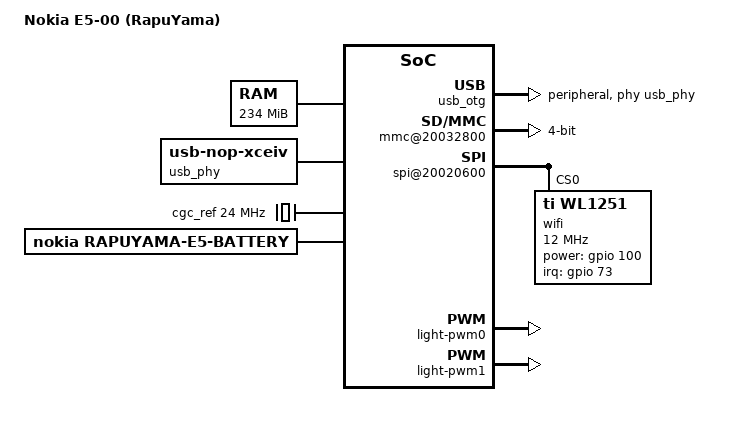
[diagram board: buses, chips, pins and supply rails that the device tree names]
/dts-v1/;

/* device tree for the nokia e5-00 (RM-632, fw 101.003), loader e5bot3.
 * tested on the phone: boots to the usb shell + ram log, the E5 system
 * tick (timer-rapuyama-e5.c, see the timer node: a different block from
 * the E6), soc/pmic watchdogs, the PA_SWD bridge (e6.swd), e6.lowmem, the
 * display as fbdev + fbcon, the keyboard and the microSD slot (read-only
 * mount, sha1 of a 16 MB file ok, 5 MB/s pio) with the alpine rootfs on
 * its p2 (tools/sdroot.sh /dev/sdX e5). everything below was checked
 * against the E5 ROM dump and the live phone (docs/devices/e5-00/
 * hw-map.md); the E6 values that were NOT confirmed on the E5 are left out
 * instead of copied:
 *   - clock gate controller (cgc): the E5 power_resources gate table
 *     0x06..0x2c equals the E6 one in clk-rapuyama.c (plan 7.17); only the
 *     mmc uses it (+ the two critical resources the driver turns on)
 *   - mmc@20032800 = the card slot
 *   - no i2c0 / touch / charger / modem link: E6 chips
 *   - battery: read-only gazoo adc (vbat, ntc, charger present), E5 cal
 *   - no bt uart
 *   - display: rfbi node only (rapuyama-e5-fb.c, cpu push); dispc and
 *     vrfb are not touched. brightness = panel DCS 0x53/0x51 from the
 *     same driver (/sys/class/backlight/panel)
 *   - keyboard: 8x8 gpio matrix, keypad node, polled
 *     (rapuyama-e5-keypad.c, maps the gpio block itself)
 *   - gpio node (gpio-rapuyama.c, egpio layout == E6, K0/W1): only the
 *     wlan uses it (power gpio 100, irq gpio 73)
 *   - wlan: TI WL1251 on spi2 (spi-rapuyama.c, polled): chip id ok,
 *     firmware boots, wlan0 up (no scan/association tested yet)
 * standalone on purpose (does not include e6.dts) so the E6 trees stay
 * untouched. boot with the usb cable plugged in so symbian leaves the usb
 * block powered
 */

/ {
	compatible = "nokia,e5", "nokia,rapuyama";
	model = "Nokia E5-00 (RapuYama)";
	#address-cells = <1>;
	#size-cells = <1>;
	interrupt-parent = <&intc>;

	chosen {
		/* clk_ignore_unused/pd_ignore_unused: nothing here owns the gates,
		 * symbian's state must stay.
		 * e6.lowmem: ram 0x11600000..loader block back, symbian-mapped pages
		 * stay reserved (+~27 MB, runs L1/L2 2026-11-01: lowwatch 20 passes
		 * 0 pages changed). first suspect for random crashes / corruption:
		 * boot a dtb without it.
		 * e6.swd: PA_SWD 0x1f bridge, E5 entry in secure_wdt.c (needs the
		 * v2 isah block of e5bot3)
		 * e6.root: btrfs rootfs on the card's p2 (tools/sdroot.sh ... e5);
		 * no p2 = init.sh stays in the initramfs after a 10 s wait */
		bootargs = "earlycon=ramcon,0x1f000000 keep_bootcon console=tty0 console=ttyNULL fbcon=font:VGA8x8 panic=10 nohlt clk_ignore_unused pd_ignore_unused cma=0 e6.usbsh e6.nogui e6.swd=1 e6.lowmem=1 e6.root=/dev/mmcblk0p2 g_cdc.host_addr=02:e5:00:00:00:01 g_cdc.dev_addr=02:e5:00:00:00:02";
	};

	cpus {
		#address-cells = <1>;
		#size-cells = <0>;
		cpu@0 {
			device_type = "cpu";
			/* MIDR 0x410fb764 read live: ARM1176 r0p4, same as the E6 */
			compatible = "arm,arm1176jzf-s";
			reg = <0>;
		};
	};

	/* one 256 MB bank at 0x10000000 (bootstrap list {0x10000001, 0x10000000},
	 * superpage iTotalRamSize 0x0f820000 + iTotalRomSize 0x7e0000 = 256 MB).
	 * Linux starts at 0x11600000 like the E6 loader layout (2 MB aligned):
	 * below that live, measured on the E5 (e5rom): the kernel L1 at
	 * 0x10000000, the modem-side window symbian maps at 0x10480000 (3.7 MB,
	 * role on the E5 unverified, on the E6 it was modem firmware), the
	 * unpaged ROM copy 0x10900000..0x110da000 and paged ROM pages up to
	 * ~0x11600000. costs 22 MB */
	memory@11600000 {
		device_type = "memory";
		reg = <0x11600000 0x0ea00000>;
	};

	reserved-memory {
		#address-cells = <1>;
		#size-cells = <1>;
		ranges;

		/* ram log (earlycon=ramcon,0x1f000000): free in symbian's allocator
		 * at e5rom time (Claim ok over 0x1e000000..0x1fb5ffff) */
		ramcon@1f000000 {
			reg = <0x1f000000 0x100000>;
			no-map;
		};

		/* top of ram, symbian's own: 0x1fb60000..0x1fcdffff was in use at
		 * e5rom time (unidentified), 0x1fd00000 is the kernel superpage,
		 * 0x1fd50000 +2.5 MB and 0x1ffe0000 +64 KB are mapped by symbian
		 * next to the mmio (c6800000, c6b00000, shared with something that is
		 * not the arm on the E6). one reservation over all of it, 4.6 MB.
		 * NOT no-map for the same reason as in e6.dts (a no-map hole at the
		 * top of ram makes arm drop ram above it) */
		symbian-top@1fb60000 {
			reg = <0x1fb60000 0x004a0000>;
		};
	};

	/* ULPI phy, symbian leaves it set up (cable plugged in) */
	usb_phy: usb-phy {
		compatible = "usb-nop-xceiv";
		#phy-cells = <0>;
	};

	clocks {
		/* NKern::FastCounterFrequency() = 32768 on the E5 too (live HAL
		 * EFastCounterFrequency, ROM check 7.1) */
		fc_clk: fc-clk {
			compatible = "fixed-clock";
			#clock-cells = <0>;
			clock-frequency = <32768>;
		};
		/* nominal parent of the cgc gates (E6: i2c_fclk 24 MHz); no E5
		 * driver uses a gate's rate */
		cgc_ref: cgc-ref {
			compatible = "fixed-clock";
			#clock-cells = <0>;
			clock-frequency = <24000000>;
		};
		/* mmc functional clock: EPBUSMV rate getter 0x8013eb98 returns
		 * 96000 kHz (plan 7.17) */
		mmc_fclk: mmc-fclk {
			compatible = "fixed-clock";
			#clock-cells = <0>;
			clock-frequency = <96000000>;
		};
	};

	soc {
		compatible = "simple-bus";
		#address-cells = <1>;
		#size-cells = <1>;
		ranges;

		/* the 1 MB aperture symbian maps at c6e00000 -> 0x20500000 is the L220
		 * outer cache: the E5 ekern does the same maintenance as the E6 at
		 * c6e00770 / c6e007b0 / c6e007f0 (ROM 0x800a06d8..f0). the id register
		 * (0x41000486 on the E6) has NOT been read on the E5 */
		l2c: cache-controller@20500000 {
			compatible = "arm,l220-cache";
			reg = <0x20500000 0x1000>;
			cache-unified;
			cache-level = <2>;
		};

		/* mapped live (c6060000 -> 0x20400000 x4); the E5 karap dispatchers use
		 * the same offsets (hw-map). the 5 secondary banks sit in
		 * c6020000 -> 0x20020000 x48, so 0x20033400 is mapped too */
		intc: interrupt-controller@20400000 {
			compatible = "nokia,rapuyama-intc";
			reg = <0x20400000 0x4000>, <0x20033400 0x140>;
			interrupt-controller;
			#interrupt-cells = <1>;
		};

		/* E5 system tick: IRQ 35, ROM ISR 0x8009d778. live reads (e5timr/e5tick):
		 * 0x200401a4 is a DOWN counter at ~7.68 MHz (38.4 MHz / 5, measured
		 * 7.66 MHz +-5 %) that reloads from 0x1e00 = 7680, i.e. a hardware
		 * periodic 1 ms tick (every value ever read is <= 0x1e00). symbian arms it
		 * by writing 0x1e00 to 0x200401a4 (EnbMsTick, ROM 0x8009e2a4) and the ISR
		 * re-arms by polling 0x200401c4 until it reads 0, then writing 0x1e00 to
		 * it. init ROM 0x8009d7cc left 0x20033600 +4=1 +8=3 and 0x20040180 +4=1
		 * +8=4. NOT verified: the reload/ack semantics of 0x200401c4 (write
		 * visibly acks the irq?), that the 7.68 MHz rate is exact (the 38.4/5
		 * guess fits 7680 = 1 ms), irq 35 trigger type. there is no driver for
		 * this binding is drivers/clocksource/timer-rapuyama-e5.c (the E6
		 * timer-rapuyama.c, irq 242 / 0x200337a0, must NOT be pointed here).
		 * second reg = the fast counter (clocksource), same as the E6 */
		timer@20040180 {
			compatible = "nokia,rapuyama-e5-timer";
			reg = <0x20040180 0x80>, <0x20033350 0x8>;
			interrupts = <35>;
			clocks = <&fc_clk>;
			clock-names = "fc";
		};

		/* musb core, same base as the E6 (hw-map: usb.dll 0x20038800 core,
		 * 0x20038c00 wrapper; irq binds 183/215 at ROM 0x80126fd8/ff0).
		 * no clocks property: symbian already runs the block with the cable in */
		usb_otg: usb@20038800 {
			compatible = "nokia,rapuyama-musb";
			reg = <0x20038800 0x500>;
			interrupts = <183>, <215>;
			interrupt-names = "mc", "dma";
			phys = <&usb_phy>;
			dr_mode = "peripheral";
		};

		/* panel interface: OMAP2-style RFBI, MIPI DCS panel on an 8-bit bus,
		 * RGB888 (D0..D2, plan 7.13-7.15). symbian's rfbi/dispc setup is kept
		 * as is; the driver only writes CMD (+0x4c) / PARAM (+0x50) and polls
		 * SYSSTATUS (+0x14). no irq, no clocks (left running by symbian) */
		display@20025800 {
			compatible = "nokia,rapuyama-e5-rfbi";
			reg = <0x20025800 0x100>;
		};

		/* qwerty 8x8 matrix, polled (rapuyama-e5-keypad.c, ekeyb.dll scan):
		 * gpio block (only the 8 column pins' out set/clr are written) and the
		 * gpio irq block (raw row state, read only; same range as the intc's
		 * second reg, the driver maps it without requesting it). no
		 * learn mode: echo 1 > /sys/module/rapuyama_e5_keypad/parameters/learn */
		keypad@20031900 {
			compatible = "nokia,rapuyama-e5-keypad";
			reg = <0x20031900 0x200>, <0x20033400 0x140>;
			/* MATRIX_KEY(row,col,code) = row<<24 | col<<16 | code. positions from
			 * ekeyb.dll: 64-byte scan table (c8009a68, idx row*8+col) checked
			 * against its 5x20 physical-layout table (c8009aa8). codes are < 128
			 * (busybox loadkmap) and only name the keys: the layers (sym, fn-arrow,
			 * sticky ctrl/alt) are in the console keymap /etc/e5.kmap from
			 * tools/e5-kmap.py. bottom row L->R: fn-arrow r0c0 (RIGHTCTRL), shift
			 * r0c1, sym r0c2 (RIGHTALT), space r0c3+r0c6, @/ r0c7 (GRAVE), ?! r4c0
			 * (SLASH), ctrl r4c1 (dead on the test phone). nav: lsk r5c2 (ESC),
			 * rsk r5c4 (LEFTMETA), menu r4c6 (LEFTALT), mail r5c5 (CAPSLOCK), call
			 * r5c6 (TAB), d-pad u r5c3 d r4c5 l r4c2 r r4c4, centre r4c3 (ENTER).
			 * end/power is not in the matrix. r0c4/r0c5 (symbian 0xa2/0xa3)
			 * unmapped, key unknown */
			linux,keymap = <0x03000010 0x03010011 0x03020012 0x03030013 0x03040014 0x03050015 0x03060016 0x03070017 0x07000018 0x07010019 0x0200001e 0x0201001f 0x02020020 0x02030021 0x02040022 0x02050023 0x02060024 0x02070025 0x06000026 0x0601000e 0x0100002c 0x0101002d 0x0102002e 0x0103002f 0x01040030 0x01050031 0x01060032 0x01070033 0x05000034 0x0501001c 0x00000061 0x0001002a 0x00020064 0x00030039 0x00060039 0x00070029 0x04000035 0x0401001d 0x05020001 0x0504007d 0x04060038 0x0505003a 0x0506000f 0x05030067 0x0405006c 0x04020069 0x0404006a 0x0403001c>;
		};

		/* clock gates, clk-rapuyama.c. probe turns on the critical resources
		 * 0x11 (gates 0x07, 0x12) and 0x1f (gate 0x22): set-bit writes only,
		 * same regs/bits as the E5 firmware. nothing else is written until a
		 * driver enables its clock.
		 * second reg: gate 0x02 (res 0x0b EHwClkExtSysClk, the wl1251 ref
		 * clock), a plain 1/0 reg (power_resources 0x800ab8f4/0x800ab970) */
		cgc: clock-controller@20032f00 {
			compatible = "nokia,rapuyama-cgc";
			reg = <0x20032f00 0x300>, <0x20020804 0x4>;
			clocks = <&cgc_ref>;
			#clock-cells = <1>;
		};

		/* microSD, EPBUSMV.DLL (plan 7.17): one TI OMAP2420 style controller,
		 * irq 173 (table 0x801449c0), power resource 0x23 (E5 name
		 * EHwClkMemCard0) = gates 0x23 (cgc+0x1d0 bit 5) + 0x25 (cgc+0x280
		 * bit 7). symbian gates both off when the card is idle (M1: off after
		 * the handoff; setting them by hand made the controller readable,
		 * card RCA 0xe624 still selected). card power: left on by symbian
		 * (E: mounted before the handoff), no regulator found. the CD gpio
		 * symbian names is gpio 0 = keypad column 0 -> broken-cd (polled).
		 * no dmas: omap.c falls back to pio. 24 MHz = symbian's cap */
		mmc@20032800 {
			compatible = "nokia,rapuyama-mmc", "ti,omap2420-mmc";
			reg = <0x20032800 0x80>;
			interrupts = <173>;
			clocks = <&cgc 0x23>, <&mmc_fclk>;
			clock-names = "ick", "fck";
			bus-width = <4>;
			broken-cd;
			max-frequency = <24000000>;
		};

		/* egpio.dll, same layout as the E6 (K0, W1: the wlan pdd's calls).
		 * second reg = pin irq banks (also in the intc's second reg and
		 * ioremapped by the keypad, nobody requests it twice: the intc and
		 * the keypad don't request their regions). W2 after the handoff:
		 * gpio 100 low (wlan off), gpio 73 reads high */
		gpio: gpio@20031900 {
			compatible = "nokia,rapuyama-gpio";
			reg = <0x20031900 0x200>, <0x20033400 0x140>;
			gpio-controller;
			#gpio-cells = <2>;
			interrupt-controller;
			#interrupt-cells = <2>;
		};

		/* spi2.dll (W1): the WL1251 bus, polled pio (spi-rapuyama.c), cs 0
		 * (the wlan pdd's requests). clocks = what spi2 open asks for: res
		 * 0x1c (gate 0x0c, cgc+0x1d0 bit 8) then res 0x0b (gate 0x02,
		 * 0x20020804). irqs 191-193 and the 0x20020800 irq mux not used */
		spi@20020600 {
			compatible = "nokia,rapuyama-e5-spi";
			reg = <0x20020600 0x70>;
			clocks = <&cgc 0x1c>, <&cgc 0x0b>;
			clock-names = "fck", "sys";
			#address-cells = <1>;
			#size-cells = <0>;

			/* pltwlanpdd: power gpio 100 (high = on, the firmware waits
			 * 1 + 12 ticks around it), irq gpio 73 (wl1251_spi sets rising
			 * edge itself). the firmware runs the bus at 48 MHz, 12 MHz
			 * for the first runs. firmware + nvs from wlanhwinit.dll in
			 * /lib/firmware/ti-connectivity (~/e5/wlan/README.txt) */
			wifi@0 {
				compatible = "ti,wl1251";
				reg = <0>;
				spi-max-frequency = <12000000>;
				ti,power-gpio = <&gpio 100 0>;
				interrupts-extended = <&gpio 73 1>;
			};
		};

		/* pmic watchdog (cbus 0x20030700, dev 1 reg 0x17 = 0x30), soc counter
		 * 0x200336c4 and the reset reg 0x20033114: all three confirmed in the
		 * E5 ROM (power.dll 0x80116790, REBOOTDRIVER.LDD) and all mapped live
		 * (c6020000 -> 0x20020000 x48). reg semantics are the E6's, the
		 * first run on the phone is their test */
		watchdog@20030700 {
			compatible = "nokia,rapuyama-wdt";
			reg = <0x20030700 0x40>, <0x200336c4 0x4>, <0x20033114 0x4>;
		};

		/* battery from the gazoo adc behind the cbus above (rapuyama-battery.c,
		 * E5 calibration from the E5 isasw scaler). read only: no charger
		 * node, linux does not program the bq2415x (charging stays in
		 * symbian) */
		/* gazoo light pwm (rapuyama-e5-bl.c, E5 isasw hal_light_phy_gazoo):
		 * /sys/class/backlight/gazoo-pwm0 and -pwm1, 0..127. only the pwm
		 * field is written. NOT the screen (pwm0 changed, the screen did
		 * not): the screen is the panel DCS backlight in the display driver
		 * (/sys/class/backlight/panel). pwm0 probably = key light */
		light-pwm0 {
			compatible = "nokia,rapuyama-e5-light-pwm";
			nokia,pwm-channel = <0>;
		};

		light-pwm1 {
			compatible = "nokia,rapuyama-e5-light-pwm";
			nokia,pwm-channel = <1>;
		};

		battery {
			compatible = "nokia,rapuyama-e5-battery";

			usb {
			};
		};
	};
};
